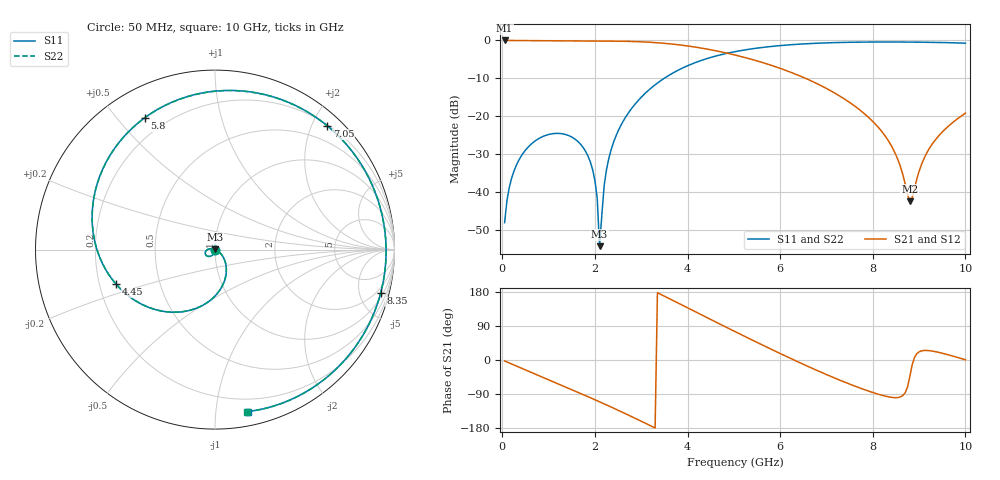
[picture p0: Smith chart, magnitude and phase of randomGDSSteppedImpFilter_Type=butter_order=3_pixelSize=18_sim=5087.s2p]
! freq	dB(S11)	phase(S11)	dB(S12)	phase(S12)
!  dB(S21)	phase(S21)	dB(S22)	phase(S22)
!S-par simulation data
#  GHz  S  DB  R 50
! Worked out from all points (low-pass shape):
!   200 points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, 50 MHz to 10 GHz, reference 50 ohm
!   highest |S21| = 0.00 dB at 50 MHz (marker M1); lowest = -42.4 dB at 8.8 GHz (marker M2)
!   |S21| within 3 dB of the highest: start of sweep to 4.722 GHz
!   lowest |S11| = -54.3 dB at 2.1 GHz (marker M3), VSWR 1.00, Z = 49.9 + j0.134 ohm
!   |S11| at or under -10 dB: start of sweep to 3.494 GHz
!   |S22| runs from -54.3 to -0.4 dB; largest |S21 - S12| = 0
!   S11 on the Smith chart (normalised r, x): 50 MHz: 1.00, -0.01; 4.45 GHz: 0.27, -0.16; 5.8 GHz: 0.12, +0.59; 7.05 GHz: 0.22, +2.24; 8.35 GHz: 1.37, -7.46; 10 GHz: 0.10, -1.22
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0.05  -48.04 -86.9  -0.00 -2.6  -0.00 -2.6  -48.01 -87.2
0.25  -34.51 -102.1  -0.02 -13.0  -0.02 -13.0  -34.51 -102.1
0.6  -27.61 -121.5  -0.05 -31.2  -0.05 -31.2  -27.61 -121.5
1.2  -24.51 -153.4  -0.09 -62.3  -0.09 -62.3  -24.51 -153.4
1.75  -28.30 177.0  -0.11 -91.4  -0.11 -91.4  -28.30 177.1
2  -36.92 162.0  -0.13 -104.8  -0.13 -104.8  -36.91 162.3
2.05  -41.67 157.6  -0.13 -107.5  -0.13 -107.5  -41.66 158.1
2.1  -54.25 136.0  -0.13 -110.3  -0.13 -110.3  -54.32 139.3
2.2  -38.27 -23.9  -0.14 -115.8  -0.14 -115.8  -38.28 -24.4
2.4  -26.94 -37.1  -0.17 -126.9  -0.17 -126.9  -26.94 -37.3
2.8  -17.82 -60.4  -0.27 -149.8  -0.27 -149.8  -17.82 -60.6
3.4  -10.79 -96.3  -0.66 174.5  -0.66 174.5  -10.79 -96.4
4.45  -4.67 -160.7  -2.34 110.0  -2.34 110.0  -4.67 -160.9
5.05  -2.90 162.8  -3.92 73.4  -3.92 73.4  -2.90 162.6
5.8  -1.59 118.1  -6.52 28.8  -6.52 28.8  -1.59 117.9
6.7  -0.79 66.7  -10.84 -22.4  -10.84 -22.4  -0.79 66.5
7.05  -0.62 47.8  -13.00 -41.1  -13.00 -41.1  -0.62 47.6
7.7  -0.45 14.9  -18.13 -72.9  -18.13 -72.9  -0.45 14.7
8.35  -0.41 -14.8  -26.72 -97.5  -26.72 -97.5  -0.41 -15.0
8.8  -0.43 -33.6  -42.39 -43.7  -42.39 -43.7  -0.43 -33.8
9.25  -0.50 -51.1  -27.94 24.2  -27.94 24.2  -0.49 -51.3
10  -0.72 -78.6  -19.16 0.5  -19.16 0.5  -0.72 -78.8
